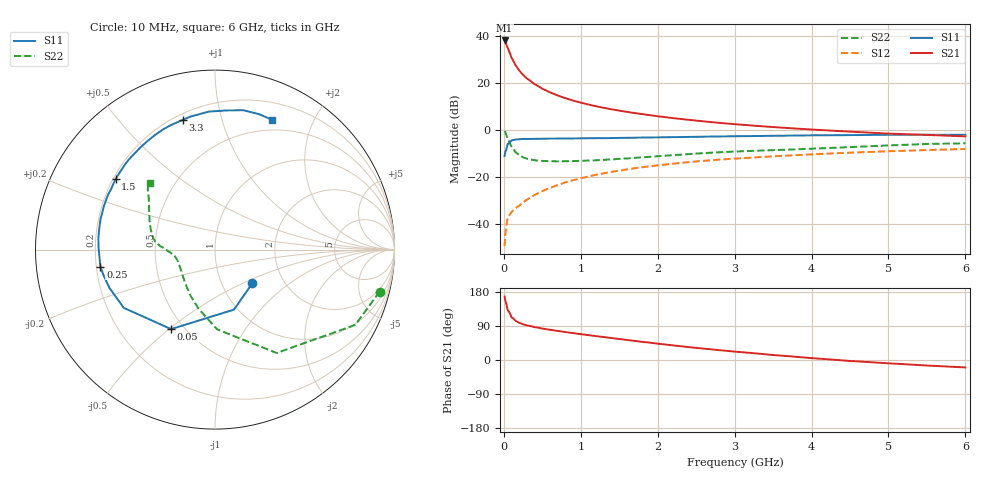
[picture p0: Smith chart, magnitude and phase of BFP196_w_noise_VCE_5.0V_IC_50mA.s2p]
! Infineon Technologies  Discrete & RF Semiconductors
! BFP196
! VCE =  5.0 V,  IC =  50 mA
! Common Emitter S-Parameters:  Jan 2017
# GHz  S  MA  R  50
!  f  S11  S21  S12  S22
! GHz  MAG  ANG  MAG  ANG  MAG  ANG  MAG  ANG
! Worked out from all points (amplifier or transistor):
!   77 points, 10 MHz to 6 GHz, reference 50 ohm
!   highest |S21| = 38.0 dB at 10 MHz (marker M1)
!   |S21| within 3 dB of that: start of sweep to 47.86 MHz
!   unconditionally stable (mu >= 1): 545.3 MHz to 2.4 GHz
!   at 130 MHz: K = 0.62, MSG = 31.4 dB, |S12| = -33.8 dB
!   at 2.2 GHz: K = 1.01, MAG = 9.0 dB, |S12| = -14.3 dB
!   at 6 GHz: K = 0.95, MSG = 2.7 dB, |S12| = -8.1 dB
!   lowest NFmin = 1.45 dB at 450 MHz
!   S11 on the Smith chart (normalised r, x): 10 MHz: 1.39, -0.56; 50 MHz: 0.43, -0.51; 250 MHz: 0.22, -0.07; 1.5 GHz: 0.21, +0.31; 3.3 GHz: 0.23, +0.76; 6 GHz: 0.38, +1.46
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0.01  0.2799 -41.8  79.81 167.4  0.0034 79.0  0.9467 -14.3
0.02  0.3507 -72.4  75.77 156.1  0.0064 71.6  0.8873 -28.2
0.05  0.506 -118.9  55.38 131.6  0.0133 55.7  0.6706 -59.2
0.1  0.6031 -147.4  34.28 112.5  0.0181 54.4  0.445 -88.4
0.15  0.6254 -159.9  24.01 103.7  0.0219 54.0  0.342 -105.5
0.2  0.6368 -166.7  18.36 98.2  0.0246 57.6  0.292 -117.6
0.25  0.6456 -171.6  14.81 94.2  0.0291 59.6  0.2631 -126.4
0.3  0.6447 -175.2  12.39 91.4  0.033 62.0  0.2454 -133.6
0.4  0.6488 179.2  9.396 86.7  0.0415 64.8  0.2277 -143.6
0.5  0.6526 174.9  7.529 83.0  0.0503 65.2  0.2202 -150.4
0.6  0.6548 171.0  6.305 79.7  0.0589 66.2  0.2175 -155.7
0.7  0.6572 167.7  5.407 76.8  0.0675 66.9  0.215 -159.8
0.9  0.6614 161.3  4.215 71.0  0.0856 65.6  0.2184 -165.0
1.1  0.6667 155.6  3.475 65.7  0.103 64.2  0.224 -169.0
1.5  0.6791 144.6  2.574 55.4  0.137 59.5  0.2431 -175.1
2.1  0.6999 128.9  1.871 40.9  0.1845 51.5  0.2843 178.7
2.6  0.7209 117.5  1.522 30.0  0.221 44.7  0.3228 174.2
3.1  0.7383 107.6  1.291 20.5  0.252 38.1  0.3532 168.4
3.3  0.7445 103.9  1.219 17.0  0.2636 35.6  0.3627 165.8
4.1  0.7704 91.0  1.002 3.5  0.3085 25.9  0.4062 154.1
5.1  0.7918 77.2  0.827 -9.9  0.3574 14.2  0.4764 141.1
6  0.7904 66.3  0.732 -19.7  0.3948 4.2  0.5219 134.3
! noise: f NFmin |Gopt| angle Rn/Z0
0.45  1.45  0.4  -176  0.06
0.9  1.6  0.47  -164  0.08
1.9  2.42  0.68  -132  0.32
2.4  2.82  0.7  -119  0.66
